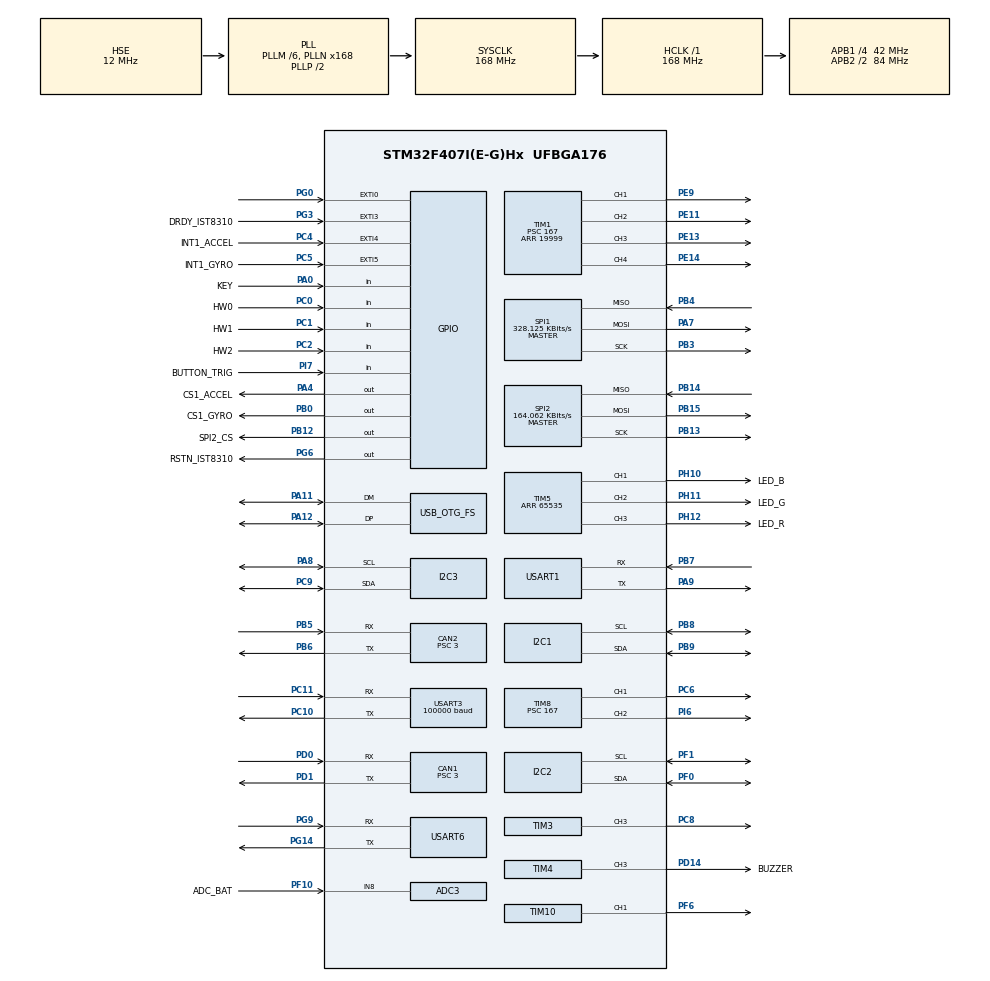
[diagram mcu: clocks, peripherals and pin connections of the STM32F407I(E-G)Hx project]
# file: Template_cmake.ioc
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ADC1.Channel-0\#ChannelRegularConversion=ADC_CHANNEL_TEMPSENSOR
ADC1.ClockPrescaler=ADC_CLOCK_SYNC_PCLK_DIV6
ADC1.NbrOfConversionFlag=1
ADC1.Rank-0\#ChannelRegularConversion=1
ADC1.SamplingTime-0\#ChannelRegularConversion=ADC_SAMPLETIME_3CYCLES
ADC1.master=1
ADC3.Channel-0\#ChannelRegularConversion=ADC_CHANNEL_8
ADC3.ClockPrescaler=ADC_CLOCK_SYNC_PCLK_DIV6
ADC3.NbrOfConversionFlag=1
ADC3.Rank-0\#ChannelRegularConversion=1
ADC3.SamplingTime-0\#ChannelRegularConversion=ADC_SAMPLETIME_3CYCLES
CAN1.BS1=CAN_BS1_10TQ
CAN1.BS2=CAN_BS2_3TQ
CAN1.CalculateBaudRate=1000000
CAN1.CalculateTimeBit=1000
CAN1.CalculateTimeQuantum=71.42857142857143
CAN1.Prescaler=3
CAN2.BS1=CAN_BS1_10TQ
CAN2.BS2=CAN_BS2_3TQ
CAN2.CalculateBaudRate=1000000
CAN2.CalculateTimeBit=1000
CAN2.CalculateTimeQuantum=71.42857142857143
CAN2.Prescaler=3
Dma.I2C2_TX.0.Direction=DMA_MEMORY_TO_PERIPH
Dma.I2C2_TX.0.FIFOMode=DMA_FIFOMODE_DISABLE
Dma.I2C2_TX.0.Instance=DMA1_Stream7
Dma.I2C2_TX.0.MemDataAlignment=DMA_MDATAALIGN_BYTE
Dma.I2C2_TX.0.MemInc=DMA_MINC_ENABLE
Dma.I2C2_TX.0.Mode=DMA_NORMAL
Dma.I2C2_TX.0.PeriphDataAlignment=DMA_PDATAALIGN_BYTE
Dma.I2C2_TX.0.PeriphInc=DMA_PINC_DISABLE
Dma.I2C2_TX.0.Priority=DMA_PRIORITY_HIGH
Dma.Request0=I2C2_TX
Dma.Request1=SPI1_RX
Dma.Request2=SPI1_TX
Dma.Request3=USART1_TX
Dma.Request4=USART3_RX
Dma.Request5=USART6_RX
Dma.Request6=USART6_TX
Dma.SPI1_RX.1.Direction=DMA_PERIPH_TO_MEMORY
Dma.SPI1_RX.1.FIFOMode=DMA_FIFOMODE_DISABLE
Dma.SPI1_RX.1.Instance=DMA2_Stream0
Dma.SPI1_RX.1.MemDataAlignment=DMA_MDATAALIGN_BYTE
Dma.SPI1_RX.1.MemInc=DMA_MINC_ENABLE
Dma.SPI1_RX.1.Mode=DMA_NORMAL
Dma.SPI1_RX.1.PeriphDataAlignment=DMA_PDATAALIGN_BYTE
Dma.SPI1_RX.1.PeriphInc=DMA_PINC_DISABLE
Dma.SPI1_RX.1.Priority=DMA_PRIORITY_VERY_HIGH
Dma.SPI1_TX.2.Direction=DMA_MEMORY_TO_PERIPH
Dma.SPI1_TX.2.FIFOMode=DMA_FIFOMODE_DISABLE
Dma.SPI1_TX.2.Instance=DMA2_Stream3
Dma.SPI1_TX.2.MemDataAlignment=DMA_MDATAALIGN_BYTE
Dma.SPI1_TX.2.MemInc=DMA_MINC_ENABLE
Dma.SPI1_TX.2.Mode=DMA_NORMAL
Dma.SPI1_TX.2.PeriphDataAlignment=DMA_PDATAALIGN_BYTE
Dma.SPI1_TX.2.PeriphInc=DMA_PINC_DISABLE
Dma.SPI1_TX.2.Priority=DMA_PRIORITY_HIGH
Dma.USART1_TX.3.Direction=DMA_MEMORY_TO_PERIPH
Dma.USART1_TX.3.FIFOMode=DMA_FIFOMODE_DISABLE
Dma.USART1_TX.3.Instance=DMA2_Stream7
Dma.USART1_TX.3.MemDataAlignment=DMA_MDATAALIGN_BYTE
Dma.USART1_TX.3.MemInc=DMA_MINC_ENABLE
Dma.USART1_TX.3.Mode=DMA_NORMAL
Dma.USART1_TX.3.PeriphDataAlignment=DMA_PDATAALIGN_BYTE
Dma.USART1_TX.3.PeriphInc=DMA_PINC_DISABLE
Dma.USART1_TX.3.Priority=DMA_PRIORITY_MEDIUM
Dma.USART3_RX.4.Direction=DMA_PERIPH_TO_MEMORY
Dma.USART3_RX.4.FIFOMode=DMA_FIFOMODE_DISABLE
Dma.USART3_RX.4.Instance=DMA1_Stream1
Dma.USART3_RX.4.MemDataAlignment=DMA_MDATAALIGN_BYTE
Dma.USART3_RX.4.MemInc=DMA_MINC_ENABLE
Dma.USART3_RX.4.Mode=DMA_NORMAL
Dma.USART3_RX.4.PeriphDataAlignment=DMA_PDATAALIGN_BYTE
Dma.USART3_RX.4.PeriphInc=DMA_PINC_DISABLE
Dma.USART3_RX.4.Priority=DMA_PRIORITY_HIGH
Dma.USART6_RX.5.Direction=DMA_PERIPH_TO_MEMORY
Dma.USART6_RX.5.FIFOMode=DMA_FIFOMODE_DISABLE
Dma.USART6_RX.5.Instance=DMA2_Stream1
Dma.USART6_RX.5.MemDataAlignment=DMA_MDATAALIGN_BYTE
Dma.USART6_RX.5.MemInc=DMA_MINC_ENABLE
Dma.USART6_RX.5.Mode=DMA_NORMAL
Dma.USART6_RX.5.PeriphDataAlignment=DMA_PDATAALIGN_BYTE
Dma.USART6_RX.5.PeriphInc=DMA_PINC_DISABLE
Dma.USART6_RX.5.Priority=DMA_PRIORITY_HIGH
Dma.USART6_TX.6.Direction=DMA_MEMORY_TO_PERIPH
Dma.USART6_TX.6.FIFOMode=DMA_FIFOMODE_DISABLE
Dma.USART6_TX.6.Instance=DMA2_Stream6
Dma.USART6_TX.6.MemDataAlignment=DMA_MDATAALIGN_BYTE
Dma.USART6_TX.6.MemInc=DMA_MINC_ENABLE
Dma.USART6_TX.6.Mode=DMA_NORMAL
Dma.USART6_TX.6.PeriphDataAlignment=DMA_PDATAALIGN_BYTE
Dma.USART6_TX.6.PeriphInc=DMA_PINC_DISABLE
Dma.USART6_TX.6.Priority=DMA_PRIORITY_MEDIUM
FREERTOS.INCLUDE_eTaskGetState=1
FREERTOS.INCLUDE_pcTaskGetTaskName=1
FREERTOS.INCLUDE_uxTaskGetStackHighWaterMark=1
FREERTOS.INCLUDE_vTaskCleanUpResources=1
FREERTOS.INCLUDE_vTaskDelayUntil=1
FREERTOS.INCLUDE_xEventGroupSetBitFromISR=1
FREERTOS.INCLUDE_xQueueGetMutexHolder=1
FREERTOS.INCLUDE_xSemaphoreGetMutexHolder=1
FREERTOS.INCLUDE_xTaskAbortDelay=1
FREERTOS.INCLUDE_xTaskGetCurrentTaskHandle=1
FREERTOS.INCLUDE_xTaskGetHandle=1
FREERTOS.INCLUDE_xTimerPendFunctionCall=1
FREERTOS.Tasks01=defaultTask,0,128,StartDefaultTask,Default,NULL,Dynamic,NULL,NULL
FREERTOS.configTOTAL_HEAP_SIZE=24576
FREERTOS.configUSE_TIMERS=1
I2C1.I2C_Mode=I2C_Fast
I2C2.I2C_Mode=I2C_Fast
I2C3.I2C_Mode=I2C_Fast
Mcu.Family=STM32F4
Mcu.Name=STM32F407I(E-G)Hx
Mcu.Package=UFBGA176
NVIC.CAN1_RX0_IRQn=true\:6\:0\:true\:false\:true\:true\:true\:true\:true
NVIC.CAN2_RX0_IRQn=true\:6\:0\:true\:false\:true\:true\:true\:true\:true
NVIC.DMA1_Stream1_IRQn=true\:5\:0\:false\:false\:false\:true\:false\:true\:true
NVIC.DMA1_Stream7_IRQn=true\:5\:0\:false\:false\:false\:true\:false\:true\:true
NVIC.DMA2_Stream0_IRQn=true\:5\:0\:false\:false\:true\:true\:false\:true\:true
NVIC.DMA2_Stream1_IRQn=true\:5\:0\:false\:false\:false\:true\:false\:true\:true
NVIC.DMA2_Stream3_IRQn=true\:5\:0\:false\:false\:false\:true\:false\:true\:true
NVIC.DMA2_Stream6_IRQn=true\:5\:0\:false\:false\:true\:true\:false\:true\:true
NVIC.DMA2_Stream7_IRQn=true\:5\:0\:false\:false\:true\:true\:false\:true\:true
NVIC.EXTI0_IRQn=true\:6\:0\:true\:false\:true\:true\:true\:true\:true
NVIC.EXTI3_IRQn=true\:5\:0\:false\:false\:true\:true\:true\:true\:true
NVIC.EXTI4_IRQn=true\:5\:0\:false\:false\:true\:true\:true\:true\:true
NVIC.EXTI9_5_IRQn=true\:5\:0\:false\:false\:true\:true\:true\:true\:true
NVIC.OTG_FS_IRQn=true\:5\:0\:false\:false\:true\:true\:true\:true\:true
NVIC.PriorityGroup=NVIC_PRIORITYGROUP_4
NVIC.USART3_IRQn=true\:4\:0\:true\:false\:false\:false\:true\:true\:true
NVIC.USART6_IRQn=true\:5\:0\:false\:false\:false\:true\:true\:true\:true
PA0-WKUP.GPIO_Label=KEY
PA0-WKUP.GPIO_PuPd=GPIO_PULLUP
PA0-WKUP.Signal=GPIO_Input
PA11.Mode=Device_Only
PA11.Signal=USB_OTG_FS_DM
PA12.Mode=Device_Only
PA12.Signal=USB_OTG_FS_DP
PA13.Mode=Serial_Wire
PA13.Signal=SYS_JTMS-SWDIO
PA14.Mode=Serial_Wire
PA14.Signal=SYS_JTCK-SWCLK
PA4.GPIO_Label=CS1_ACCEL
PA4.GPIO_PuPd=GPIO_PULLUP
PA4.GPIO_Speed=GPIO_SPEED_FREQ_HIGH
PA4.PinState=GPIO_PIN_SET
PA4.Signal=GPIO_Output
PA7.GPIO_PuPd=GPIO_PULLUP
PA7.Mode=Full_Duplex_Master
PA7.Signal=SPI1_MOSI
PA8.GPIO_Pu=GPIO_PULLUP
PA8.Mode=I2C
PA8.Signal=I2C3_SCL
PA9.Mode=Asynchronous
PA9.Signal=USART1_TX
PB0.GPIO_Label=CS1_GYRO
PB0.GPIO_PuPd=GPIO_PULLUP
PB0.GPIO_Speed=GPIO_SPEED_FREQ_HIGH
PB0.PinState=GPIO_PIN_SET
PB0.Signal=GPIO_Output
PB12.GPIO_Label=SPI2_CS
PB12.GPIO_PuPd=GPIO_PULLUP
PB12.GPIO_Speed=GPIO_SPEED_FREQ_MEDIUM
PB12.PinState=GPIO_PIN_SET
PB12.Signal=GPIO_Output
PB13.GPIO_PuPd=GPIO_PULLUP
PB13.Mode=Full_Duplex_Master
PB13.Signal=SPI2_SCK
PB14.GPIO_PuPd=GPIO_PULLUP
PB14.Mode=Full_Duplex_Master
PB14.Signal=SPI2_MISO
PB15.GPIO_PuPd=GPIO_PULLUP
PB15.Mode=Full_Duplex_Master
PB15.Signal=SPI2_MOSI
PB3.GPIO_PuPd=GPIO_PULLUP
PB3.Mode=Full_Duplex_Master
PB3.Signal=SPI1_SCK
PB4.GPIO_PuPd=GPIO_PULLUP
PB4.Mode=Full_Duplex_Master
PB4.Signal=SPI1_MISO
PB5.Mode=CAN_Activate
PB5.Signal=CAN2_RX
PB6.Mode=CAN_Activate
PB6.Signal=CAN2_TX
PB7.Mode=Asynchronous
PB7.Signal=USART1_RX
PB8.GPIO_Pu=GPIO_PULLUP
PB8.Mode=I2C
PB8.Signal=I2C1_SCL
PB9.GPIO_Pu=GPIO_PULLUP
PB9.Mode=I2C
PB9.Signal=I2C1_SDA
PC0.GPIO_Label=HW0
PC0.Signal=GPIO_Input
PC1.GPIO_Label=HW1
PC1.Signal=GPIO_Input
PC10.Mode=Asynchronous
PC10.Signal=USART3_TX
PC11.Mode=Asynchronous
PC11.Signal=USART3_RX
PC2.GPIO_Label=HW2
PC2.Signal=GPIO_Input
PC4.GPIO_Label=INT1_ACCEL
PC4.GPIO_ModeDefaultEXTI=GPIO_MODE_IT_FALLING
PC4.GPIO_PuPd=GPIO_PULLUP
PC4.Signal=GPXTI4
PC5.GPIO_Label=INT1_GYRO
PC5.GPIO_ModeDefaultEXTI=GPIO_MODE_IT_FALLING
PC5.GPIO_PuPd=GPIO_PULLUP
PC5.Signal=GPXTI5
PC6.GPIO_PuPd=GPIO_PULLUP
PC6.GPIO_Speed=GPIO_SPEED_FREQ_HIGH
PC6.Signal=S_TIM8_CH1
PC8.GPIO_PuPd=GPIO_PULLUP
PC8.GPIO_Speed=GPIO_SPEED_FREQ_HIGH
PC8.Signal=S_TIM3_CH3
PC9.GPIO_Pu=GPIO_PULLUP
PC9.Mode=I2C
PC9.Signal=I2C3_SDA
PD0.Mode=CAN_Activate
PD0.Signal=CAN1_RX
PD1.Mode=CAN_Activate
PD1.Signal=CAN1_TX
PD14.GPIO_Label=BUZZER
PD14.GPIO_PuPd=GPIO_PULLUP
PD14.GPIO_Speed=GPIO_SPEED_FREQ_VERY_HIGH
PD14.Signal=S_TIM4_CH3
PE11.GPIO_PuPd=GPIO_PULLUP
PE11.GPIO_Speed=GPIO_SPEED_FREQ_HIGH
PE11.Signal=S_TIM1_CH2
PE13.GPIO_PuPd=GPIO_PULLUP
PE13.GPIO_Speed=GPIO_SPEED_FREQ_HIGH
PE13.Signal=S_TIM1_CH3
PE14.GPIO_PuPd=GPIO_PULLUP
PE14.GPIO_Speed=GPIO_SPEED_FREQ_HIGH
PE14.Signal=S_TIM1_CH4
PE9.GPIO_PuPd=GPIO_PULLUP
PE9.GPIO_Speed=GPIO_SPEED_FREQ_HIGH
PE9.Signal=S_TIM1_CH1
PF0.GPIO_Pu=GPIO_PULLUP
PF0.Mode=I2C
PF0.Signal=I2C2_SDA
PF1.GPIO_Pu=GPIO_PULLUP
PF1.Mode=I2C
PF1.Signal=I2C2_SCL
PF10.GPIO_Label=ADC_BAT
PF10.Mode=IN8
PF10.Signal=ADC3_IN8
PF6.GPIO_PuPd=GPIO_PULLUP
PF6.GPIO_Speed=GPIO_SPEED_FREQ_HIGH
PF6.Signal=S_TIM10_CH1
PG0.GPIO_ModeDefaultEXTI=GPIO_MODE_IT_FALLING
PG0.GPIO_PuPd=GPIO_PULLUP
PG0.Signal=GPXTI0
PG14.Mode=Asynchronous
PG14.Signal=USART6_TX
PG3.GPIO_Label=DRDY_IST8310
PG3.GPIO_ModeDefaultEXTI=GPIO_MODE_IT_FALLING
PG3.GPIO_PuPd=GPIO_PULLUP
PG3.Signal=GPXTI3
PG6.GPIO_Label=RSTN_IST8310
PG6.GPIO_PuPd=GPIO_PULLUP
PG6.GPIO_Speed=GPIO_SPEED_FREQ_MEDIUM
PG6.PinState=GPIO_PIN_SET
PG6.Signal=GPIO_Output
PG9.Mode=Asynchronous
PG9.Signal=USART6_RX
PH0-OSC_IN.Mode=HSE-External-Oscillator
PH0-OSC_IN.Signal=RCC_OSC_IN
PH1-OSC_OUT.Mode=HSE-External-Oscillator
PH1-OSC_OUT.Signal=RCC_OSC_OUT
PH10.GPIO_Label=LED_B
PH10.GPIO_PuPd=GPIO_PULLUP
PH10.GPIO_Speed=GPIO_SPEED_FREQ_HIGH
PH10.Signal=S_TIM5_CH1
PH11.GPIO_Label=LED_G
PH11.GPIO_PuPd=GPIO_PULLUP
PH11.GPIO_Speed=GPIO_SPEED_FREQ_HIGH
PH11.Signal=S_TIM5_CH2
PH12.GPIO_Label=LED_R
PH12.GPIO_PuPd=GPIO_PULLUP
PH12.GPIO_Speed=GPIO_SPEED_FREQ_HIGH
PH12.Signal=S_TIM5_CH3
PI6.GPIO_PuPd=GPIO_PULLUP
PI6.GPIO_Speed=GPIO_SPEED_FREQ_HIGH
PI6.Signal=S_TIM8_CH2
PI7.GPIO_Label=BUTTON_TRIG
PI7.GPIO_PuPd=GPIO_PULLUP
PI7.Signal=GPIO_Input
ProjectManager.HeapSize=0x200
ProjectManager.StackSize=0x400
ProjectManager.TargetToolchain=CMake
RCC.48MHZClocksFreq_Value=48000000
RCC.AHBFreq_Value=168000000
RCC.APB1CLKDivider=RCC_HCLK_DIV4
RCC.APB1Freq_Value=42000000
RCC.APB1TimFreq_Value=84000000
RCC.APB2CLKDivider=RCC_HCLK_DIV2
RCC.APB2Freq_Value=84000000
RCC.APB2TimFreq_Value=168000000
RCC.CortexFreq_Value=168000000
RCC.HCLKFreq_Value=168000000
RCC.HSE_VALUE=12000000
RCC.HSI_VALUE=16000000
RCC.LSE_VALUE=32768
RCC.PLLM=6
RCC.PLLN=168
RCC.PLLQ=7
RCC.SYSCLKFreq_VALUE=168000000
RCC.SYSCLKSource=RCC_SYSCLKSOURCE_PLLCLK
RCC.VCOOutputFreq_Value=336000000
RTC.SynchPrediv=3199
SH.S_TIM10_CH1.0=TIM10_CH1,PWM Generation1 CH1
SH.S_TIM1_CH1.0=TIM1_CH1,PWM Generation1 CH1
SH.S_TIM1_CH2.0=TIM1_CH2,PWM Generation2 CH2
SH.S_TIM1_CH3.0=TIM1_CH3,PWM Generation3 CH3
SH.S_TIM1_CH4.0=TIM1_CH4,PWM Generation4 CH4
SH.S_TIM3_CH3.0=TIM3_CH3,PWM Generation3 CH3
SH.S_TIM4_CH3.0=TIM4_CH3,PWM Generation3 CH3
SH.S_TIM5_CH1.0=TIM5_CH1,PWM Generation1 CH1
SH.S_TIM5_CH2.0=TIM5_CH2,PWM Generation2 CH2
SH.S_TIM5_CH3.0=TIM5_CH3,PWM Generation3 CH3
SH.S_TIM8_CH1.0=TIM8_CH1,PWM Generation1 CH1
SH.S_TIM8_CH2.0=TIM8_CH2,PWM Generation2 CH2
SPI1.BaudRatePrescaler=SPI_BAUDRATEPRESCALER_256
SPI1.CLKPhase=SPI_PHASE_2EDGE
SPI1.CLKPolarity=SPI_POLARITY_HIGH
SPI1.CalculateBaudRate=328.125 KBits/s
SPI1.Direction=SPI_DIRECTION_2LINES
SPI1.Mode=SPI_MODE_MASTER
SPI1.VirtualType=VM_MASTER
SPI2.BaudRatePrescaler=SPI_BAUDRATEPRESCALER_256
SPI2.CLKPhase=SPI_PHASE_2EDGE
SPI2.CLKPolarity=SPI_POLARITY_HIGH
SPI2.CalculateBaudRate=164.062 KBits/s
SPI2.Direction=SPI_DIRECTION_2LINES
SPI2.Mode=SPI_MODE_MASTER
SPI2.VirtualType=VM_MASTER
TIM1.Channel-PWM\ Generation1\ CH1=TIM_CHANNEL_1
TIM1.Channel-PWM\ Generation2\ CH2=TIM_CHANNEL_2
TIM1.Channel-PWM\ Generation3\ CH3=TIM_CHANNEL_3
TIM1.Channel-PWM\ Generation4\ CH4=TIM_CHANNEL_4
TIM1.Period=19999
TIM1.Prescaler=167
TIM1.Pulse-PWM\ Generation1\ CH1=1000
TIM1.Pulse-PWM\ Generation2\ CH2=1000
TIM1.Pulse-PWM\ Generation3\ CH3=1000
TIM1.Pulse-PWM\ Generation4\ CH4=1000
TIM10.Channel=TIM_CHANNEL_1
TIM10.Period=4999
TIM3.Channel-PWM\ Generation3\ CH3=TIM_CHANNEL_3
TIM3.Period=8399
TIM4.Channel-PWM\ Generation3\ CH3=TIM_CHANNEL_3
TIM4.Prescaler=167
TIM5.Channel-PWM\ Generation1\ CH1=TIM_CHANNEL_1
TIM5.Channel-PWM\ Generation2\ CH2=TIM_CHANNEL_2
TIM5.Channel-PWM\ Generation3\ CH3=TIM_CHANNEL_3
TIM5.Period=65535
TIM8.Channel-PWM\ Generation1\ CH1=TIM_CHANNEL_1
TIM8.Channel-PWM\ Generation2\ CH2=TIM_CHANNEL_2
TIM8.Period=19999
TIM8.Prescaler=167
TIM8.Pulse-PWM\ Generation1\ CH1=1000
TIM8.Pulse-PWM\ Generation2\ CH2=1000
USART1.VirtualMode=VM_ASYNC
USART3.BaudRate=100000
USART3.Parity=PARITY_EVEN
USART3.VirtualMode=VM_ASYNC
USART6.VirtualMode=VM_ASYNC
USB_OTG_FS.VirtualMode=Device_Only
VP_ADC1_TempSens_Input.Mode=IN-TempSens
VP_ADC1_Vref_Input.Mode=IN-Vrefint
VP_CRC_VS_CRC.Mode=CRC_Activate
VP_FREERTOS_VS_CMSIS_V1.Mode=CMSIS_V1
VP_RNG_VS_RNG.Mode=RNG_Activate
VP_RTC_VS_RTC_Activate.Mode=RTC_Enabled
VP_TIM10_VS_ClockSourceINT.Mode=Enable_Timer
VP_TIM1_VS_ClockSourceINT.Mode=Internal
VP_TIM3_VS_ClockSourceINT.Mode=Internal
VP_TIM4_VS_ClockSourceINT.Mode=Internal
VP_TIM5_VS_ClockSourceINT.Mode=Internal
VP_TIM8_VS_ClockSourceINT.Mode=Internal
board=custom

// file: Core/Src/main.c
/* USER CODE BEGIN Header */
/**
  ******************************************************************************
  * @file           : main.c
  * @brief          : Main program body
  ******************************************************************************
  * @attention
  *
  * Copyright (c) 2025 STMicroelectronics.
  * All rights reserved.
  *
  * This software is licensed under terms that can be found in the LICENSE file
  * in the root directory of this software component.
  * If no LICENSE file comes with this software, it is provided AS-IS.
  *
  ******************************************************************************
  */
/* USER CODE END Header */
#include "main.h"
#include "cmsis_os.h"
#include "adc.h"
#include "can.h"
#include "crc.h"
#include "dma.h"
#include "i2c.h"
#include "rng.h"
#include "rtc.h"
#include "spi.h"
#include "tim.h"
#include "usart.h"
#include "usb_otg.h"
#include "gpio.h"

void SystemClock_Config(void);
void MX_FREERTOS_Init(void);

int main(void)
{

  /* MCU Configuration--------------------------------------------------------*/

  /* Reset of all peripherals, Initializes the Flash interface and the Systick. */
  HAL_Init();

  /* Configure the system clock */
  SystemClock_Config();

  /* Initialize all configured peripherals */
  MX_GPIO_Init();
  MX_DMA_Init();
  MX_ADC1_Init();
  MX_ADC3_Init();
  MX_CAN1_Init();
  MX_CAN2_Init();
  MX_I2C1_Init();
  MX_I2C2_Init();
  MX_RTC_Init();
  MX_TIM1_Init();
  MX_TIM3_Init();
  MX_TIM4_Init();
  MX_TIM5_Init();
  MX_TIM8_Init();
  MX_TIM10_Init();
  MX_I2C3_Init();
  MX_SPI1_Init();
  MX_SPI2_Init();
  MX_USART1_UART_Init();
  MX_USART3_UART_Init();
  MX_USART6_UART_Init();
  MX_CRC_Init();
  MX_RNG_Init();
  MX_USB_OTG_FS_PCD_Init();
  /* USER CODE BEGIN 2 */

  //led初始化
  HAL_TIM_Base_Start(&htim5);
  HAL_TIM_PWM_Start(&htim5, TIM_CHANNEL_1);
  HAL_TIM_PWM_Start(&htim5, TIM_CHANNEL_2);
  HAL_TIM_PWM_Start(&htim5, TIM_CHANNEL_3);

  /* USER CODE END 2 */

  /* Call init function for freertos objects (in cmsis_os2.c) */
  MX_FREERTOS_Init();

  /* Start scheduler */
  osKernelStart();

  /* We should never get here as control is now taken by the scheduler */

  /* Infinite loop */
  while (1)
  {

  }
}

void SystemClock_Config(void)
{
  RCC_OscInitTypeDef RCC_OscInitStruct = {0};
  RCC_ClkInitTypeDef RCC_ClkInitStruct = {0};

  /** Configure the main internal regulator output voltage
  */
  __HAL_RCC_PWR_CLK_ENABLE();
  __HAL_PWR_VOLTAGESCALING_CONFIG(PWR_REGULATOR_VOLTAGE_SCALE1);

  /** Initializes the RCC Oscillators according to the specified parameters
  * in the RCC_OscInitTypeDef structure.
  */
  RCC_OscInitStruct.OscillatorType = RCC_OSCILLATORTYPE_LSI|RCC_OSCILLATORTYPE_HSE;
  RCC_OscInitStruct.HSEState = RCC_HSE_ON;
  RCC_OscInitStruct.LSIState = RCC_LSI_ON;
  RCC_OscInitStruct.PLL.PLLState = RCC_PLL_ON;
  RCC_OscInitStruct.PLL.PLLSource = RCC_PLLSOURCE_HSE;
  RCC_OscInitStruct.PLL.PLLM = 6;
  RCC_OscInitStruct.PLL.PLLN = 168;
  RCC_OscInitStruct.PLL.PLLP = RCC_PLLP_DIV2;
  RCC_OscInitStruct.PLL.PLLQ = 7;
  if (HAL_RCC_OscConfig(&RCC_OscInitStruct) != HAL_OK)
  {
    Error_Handler();
  }

  /** Initializes the CPU, AHB and APB buses clocks
  */
  RCC_ClkInitStruct.ClockType = RCC_CLOCKTYPE_HCLK|RCC_CLOCKTYPE_SYSCLK
                              |RCC_CLOCKTYPE_PCLK1|RCC_CLOCKTYPE_PCLK2;
  RCC_ClkInitStruct.SYSCLKSource = RCC_SYSCLKSOURCE_PLLCLK;
  RCC_ClkInitStruct.AHBCLKDivider = RCC_SYSCLK_DIV1;
  RCC_ClkInitStruct.APB1CLKDivider = RCC_HCLK_DIV4;
  RCC_ClkInitStruct.APB2CLKDivider = RCC_HCLK_DIV2;

  if (HAL_RCC_ClockConfig(&RCC_ClkInitStruct, FLASH_LATENCY_5) != HAL_OK)
  {
    Error_Handler();
  }
}

void Error_Handler(void)
{
  __disable_irq();
  while (1)
  {
  }
}

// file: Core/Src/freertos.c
/* USER CODE BEGIN Header */
/**
  ******************************************************************************
  * File Name          : freertos.c
  * Description        : Code for freertos applications
  ******************************************************************************
  * @attention
  *
  * Copyright (c) 2025 STMicroelectronics.
  * All rights reserved.
  *
  * This software is licensed under terms that can be found in the LICENSE file
  * in the root directory of this software component.
  * If no LICENSE file comes with this software, it is provided AS-IS.
  *
  ******************************************************************************
  */
/* USER CODE END Header */

#include "FreeRTOS.h"
#include "task.h"
#include "main.h"
#include "cmsis_os.h"

/* USER CODE BEGIN Includes */
#include "bsp_led.h"

/* USER CODE END Includes */

osThreadId defaultTaskHandle;

void StartDefaultTask(void const * argument);

void MX_FREERTOS_Init(void); /* (MISRA C 2004 rule 8.1) */

/* GetIdleTaskMemory prototype (linked to static allocation support) */
void vApplicationGetIdleTaskMemory( StaticTask_t **ppxIdleTaskTCBBuffer, StackType_t **ppxIdleTaskStackBuffer, uint32_t *pulIdleTaskStackSize );

/* GetTimerTaskMemory prototype (linked to static allocation support) */
void vApplicationGetTimerTaskMemory( StaticTask_t **ppxTimerTaskTCBBuffer, StackType_t **ppxTimerTaskStackBuffer, uint32_t *pulTimerTaskStackSize );

/* USER CODE BEGIN GET_IDLE_TASK_MEMORY */
static StaticTask_t xIdleTaskTCBBuffer;
static StackType_t xIdleStack[configMINIMAL_STACK_SIZE];

void vApplicationGetIdleTaskMemory( StaticTask_t **ppxIdleTaskTCBBuffer, StackType_t **ppxIdleTaskStackBuffer, uint32_t *pulIdleTaskStackSize )
{
  *ppxIdleTaskTCBBuffer = &xIdleTaskTCBBuffer;
  *ppxIdleTaskStackBuffer = &xIdleStack[0];
  *pulIdleTaskStackSize = configMINIMAL_STACK_SIZE;
  /* place for user code */
}
/* USER CODE END GET_IDLE_TASK_MEMORY */

/* USER CODE BEGIN GET_TIMER_TASK_MEMORY */
static StaticTask_t xTimerTaskTCBBuffer;
static StackType_t xTimerStack[configTIMER_TASK_STACK_DEPTH];

void vApplicationGetTimerTaskMemory( StaticTask_t **ppxTimerTaskTCBBuffer, StackType_t **ppxTimerTaskStackBuffer, uint32_t *pulTimerTaskStackSize )
{
  *ppxTimerTaskTCBBuffer = &xTimerTaskTCBBuffer;
  *ppxTimerTaskStackBuffer = &xTimerStack[0];
  *pulTimerTaskStackSize = configTIMER_TASK_STACK_DEPTH;
  /* place for user code */
}
/* USER CODE END GET_TIMER_TASK_MEMORY */

void MX_FREERTOS_Init(void) {

  /* Create the thread(s) */
  /* definition and creation of defaultTask */
  osThreadDef(defaultTask, StartDefaultTask, osPriorityNormal, 0, 128);
  defaultTaskHandle = osThreadCreate(osThread(defaultTask), NULL);

}

void StartDefaultTask(void const * argument)
{
  /* USER CODE BEGIN StartDefaultTask */
  uint16_t pwm=0;
  uint16_t psc=0;

  /* Infinite loop */
  for(;;)
  {

    aRGB_led_show(0xFFFF5733);
    osDelay(200);

    aRGB_led_show(0x00000000);
    osDelay(200);

    aRGB_led_show(0xFFFF5733);
    osDelay(200);

    aRGB_led_show(0x00000000);
    osDelay(1500);

  }
  /* USER CODE END StartDefaultTask */
}
